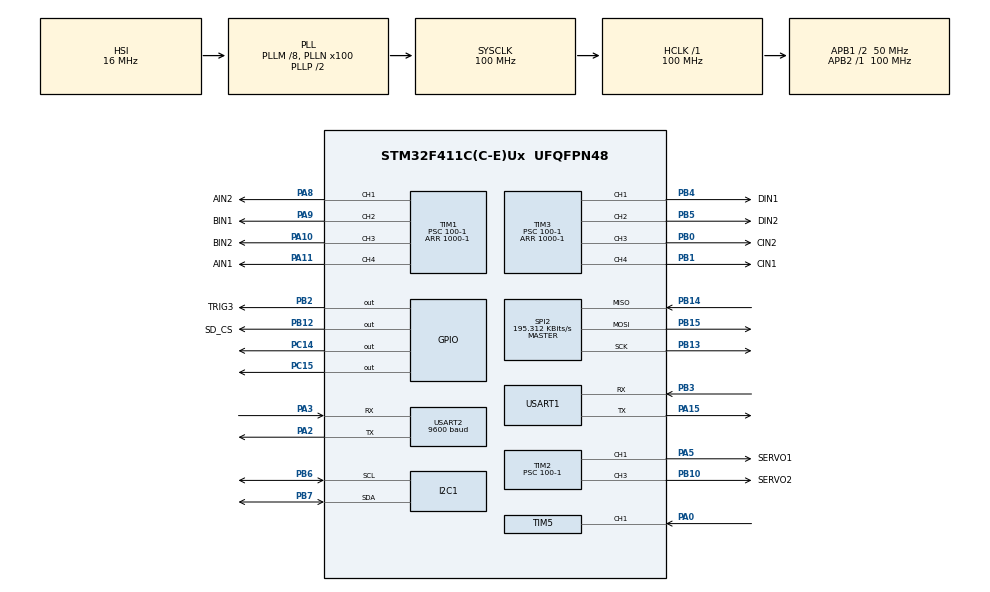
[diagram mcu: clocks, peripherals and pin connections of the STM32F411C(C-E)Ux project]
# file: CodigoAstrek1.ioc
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Dma.Request0=USART2_RX
Dma.Request1=USART1_TX
Dma.USART1_TX.1.Direction=DMA_MEMORY_TO_PERIPH
Dma.USART1_TX.1.FIFOMode=DMA_FIFOMODE_DISABLE
Dma.USART1_TX.1.Instance=DMA2_Stream7
Dma.USART1_TX.1.MemDataAlignment=DMA_MDATAALIGN_BYTE
Dma.USART1_TX.1.MemInc=DMA_MINC_ENABLE
Dma.USART1_TX.1.Mode=DMA_NORMAL
Dma.USART1_TX.1.PeriphDataAlignment=DMA_PDATAALIGN_BYTE
Dma.USART1_TX.1.PeriphInc=DMA_PINC_DISABLE
Dma.USART1_TX.1.Priority=DMA_PRIORITY_LOW
Dma.USART2_RX.0.Direction=DMA_PERIPH_TO_MEMORY
Dma.USART2_RX.0.FIFOMode=DMA_FIFOMODE_DISABLE
Dma.USART2_RX.0.Instance=DMA1_Stream5
Dma.USART2_RX.0.MemDataAlignment=DMA_MDATAALIGN_BYTE
Dma.USART2_RX.0.MemInc=DMA_MINC_ENABLE
Dma.USART2_RX.0.Mode=DMA_CIRCULAR
Dma.USART2_RX.0.PeriphDataAlignment=DMA_PDATAALIGN_BYTE
Dma.USART2_RX.0.PeriphInc=DMA_PINC_DISABLE
Dma.USART2_RX.0.Priority=DMA_PRIORITY_HIGH
FREERTOS.BinarySemaphores01=hcsr04Semaphore,Dynamic,NULL,Depleted;serialSemaphore,Dynamic,NULL,Available;imuSemaphore,Dynamic,NULL,Available
FREERTOS.Queues01=sensorDataQueue,5,SensorData_t,0,Dynamic,NULL,NULL;gpsDataQueue,5,GPS_Data_t,0,Dynamic,NULL,NULL;controlDataQueue,5,ControlCommand_t,0,Dynamic,NULL,NULL;navStatesQueue,5,evento_navegacion,0,Dynamic,NULL,NULL;hcsr04DataQueue,5,HCSR04_Data_t,0,Dynamic,NULL,NULL;logQueue,5,Datalog_Entry_t,0,Dynamic,NULL,NULL
FREERTOS.Tasks01=Navegacion,32,1024,NavegacionTask,Default,NULL,Dynamic,NULL,NULL;Taquito,24,1024,TaquitoTask,Default,NULL,Dynamic,NULL,NULL;NavGlobal,17,1024,Navegacion_Global,Default,NULL,Dynamic,NULL,NULL;Control,48,1024,ControlTask,Default,NULL,Dynamic,NULL,NULL;Ultrasonido,18,1024,UltrasonidoTask,Default,NULL,Dynamic,NULL,NULL;Geoposicion,24,1024,GPSTask,Default,NULL,Dynamic,NULL,NULL;Transmision,9,1024,TransmisionTask,Default,NULL,Dynamic,NULL,NULL;Sensores_I2C,16,1024,SensoresTask,Default,NULL,Dynamic,NULL,NULL;logTask,8,2048,Datos_SD,Default,NULL,Dynamic,NULL,NULL;Servos,8,1024,PatasRoverTask,Default,NULL,Dynamic,NULL,NULL
FREERTOS.configTOTAL_HEAP_SIZE=60000
FREERTOS.configUSE_NEWLIB_REENTRANT=1
Mcu.Family=STM32F4
Mcu.Name=STM32F411C(C-E)Ux
Mcu.Package=UFQFPN48
NVIC.DMA1_Stream5_IRQn=true\:5\:0\:false\:false\:true\:true\:false\:true\:true
NVIC.DMA2_Stream7_IRQn=true\:5\:0\:false\:false\:true\:true\:false\:true\:true
NVIC.PriorityGroup=NVIC_PRIORITYGROUP_4
NVIC.TIM1_TRG_COM_TIM11_IRQn=true\:15\:0\:false\:false\:true\:false\:false\:true\:true
NVIC.TIM2_IRQn=true\:5\:0\:false\:false\:true\:true\:true\:true\:true
NVIC.TimeBase=TIM1_TRG_COM_TIM11_IRQn
NVIC.TimeBaseIP=TIM11
NVIC.USART1_IRQn=true\:5\:0\:false\:false\:true\:true\:true\:true\:true
NVIC.USART2_IRQn=true\:5\:0\:false\:false\:true\:true\:true\:true\:true
PA0-WKUP.Signal=S_TIM5_CH1
PA10.GPIO_Label=BIN2
PA10.Signal=S_TIM1_CH3
PA11.GPIO_Label=AIN1
PA11.Signal=S_TIM1_CH4
PA15.Mode=Asynchronous
PA15.Signal=USART1_TX
PA2.Mode=Asynchronous
PA2.Signal=USART2_TX
PA3.Mode=Asynchronous
PA3.Signal=USART2_RX
PA5.GPIO_Label=SERVO1
PA5.Signal=S_TIM2_CH1_ETR
PA8.GPIO_Label=AIN2
PA8.Signal=S_TIM1_CH1
PA9.GPIO_Label=BIN1
PA9.Signal=S_TIM1_CH2
PB0.GPIO_Label=CIN2
PB0.Signal=S_TIM3_CH3
PB1.GPIO_Label=CIN1
PB1.Signal=S_TIM3_CH4
PB10.GPIO_Label=SERVO2
PB10.Signal=S_TIM2_CH3
PB12.GPIO_Label=SD_CS
PB12.Signal=GPIO_Output
PB13.Mode=Full_Duplex_Master
PB13.Signal=SPI2_SCK
PB14.Mode=Full_Duplex_Master
PB14.Signal=SPI2_MISO
PB15.Mode=Full_Duplex_Master
PB15.Signal=SPI2_MOSI
PB2.GPIO_Label=TRIG3
PB2.Signal=GPIO_Output
PB3.Mode=Asynchronous
PB3.Signal=USART1_RX
PB4.GPIO_Label=DIN1
PB4.Signal=S_TIM3_CH1
PB5.GPIO_Label=DIN2
PB5.Signal=S_TIM3_CH2
PB6.Mode=I2C
PB6.Signal=I2C1_SCL
PB7.Mode=I2C
PB7.Signal=I2C1_SDA
PC14-OSC32_IN.Signal=GPIO_Output
PC15-OSC32_OUT.Signal=GPIO_Output
ProjectManager.HeapSize=0x200
ProjectManager.StackSize=0x400
ProjectManager.TargetToolchain=STM32CubeIDE
RCC.48MHZClocksFreq_Value=50000000
RCC.AHBFreq_Value=100000000
RCC.APB1CLKDivider=RCC_HCLK_DIV2
RCC.APB1Freq_Value=50000000
RCC.APB1TimFreq_Value=100000000
RCC.APB2Freq_Value=100000000
RCC.APB2TimFreq_Value=100000000
RCC.CortexFreq_Value=100000000
RCC.HCLKFreq_Value=100000000
RCC.HSE_VALUE=25000000
RCC.HSI_VALUE=16000000
RCC.LSE_VALUE=32768
RCC.PLLM=8
RCC.PLLN=100
RCC.SYSCLKFreq_VALUE=100000000
RCC.SYSCLKSource=RCC_SYSCLKSOURCE_PLLCLK
RCC.VCOOutputFreq_Value=200000000
SH.S_TIM1_CH1.0=TIM1_CH1,PWM Generation1 CH1
SH.S_TIM1_CH2.0=TIM1_CH2,PWM Generation2 CH2
SH.S_TIM1_CH3.0=TIM1_CH3,PWM Generation3 CH3
SH.S_TIM1_CH4.0=TIM1_CH4,PWM Generation4 CH4
SH.S_TIM2_CH1_ETR.0=TIM2_CH1,PWM Generation1 CH1
SH.S_TIM2_CH3.0=TIM2_CH3,PWM Generation3 CH3
SH.S_TIM3_CH1.0=TIM3_CH1,PWM Generation1 CH1
SH.S_TIM3_CH2.0=TIM3_CH2,PWM Generation2 CH2
SH.S_TIM3_CH3.0=TIM3_CH3,PWM Generation3 CH3
SH.S_TIM3_CH4.0=TIM3_CH4,PWM Generation4 CH4
SH.S_TIM5_CH1.0=TIM5_CH1,Input_Capture1_from_TI1
SPI2.BaudRatePrescaler=SPI_BAUDRATEPRESCALER_256
SPI2.CalculateBaudRate=195.312 KBits/s
SPI2.Direction=SPI_DIRECTION_2LINES
SPI2.Mode=SPI_MODE_MASTER
SPI2.VirtualType=VM_MASTER
TIM1.Channel-PWM\ Generation1\ CH1=TIM_CHANNEL_1
TIM1.Channel-PWM\ Generation2\ CH2=TIM_CHANNEL_2
TIM1.Channel-PWM\ Generation3\ CH3=TIM_CHANNEL_3
TIM1.Channel-PWM\ Generation4\ CH4=TIM_CHANNEL_4
TIM1.Period=1000-1
TIM1.Prescaler=100-1
TIM2.Channel-PWM\ Generation1\ CH1=TIM_CHANNEL_1
TIM2.Channel-PWM\ Generation3\ CH3=TIM_CHANNEL_3
TIM2.Period=20000-1
TIM2.Prescaler=100-1
TIM3.Channel-PWM\ Generation1\ CH1=TIM_CHANNEL_1
TIM3.Channel-PWM\ Generation2\ CH2=TIM_CHANNEL_2
TIM3.Channel-PWM\ Generation3\ CH3=TIM_CHANNEL_3
TIM3.Channel-PWM\ Generation4\ CH4=TIM_CHANNEL_4
TIM3.Period=1000-1
TIM3.Prescaler=100-1
TIM5.Channel-Input_Capture1_from_TI1=TIM_CHANNEL_1
USART1.VirtualMode=VM_ASYNC
USART2.BaudRate=9600
USART2.VirtualMode=VM_ASYNC
VP_FATFS_VS_Generic.Mode=User_defined
VP_FREERTOS_VS_CMSIS_V2.Mode=CMSIS_V2
VP_SYS_VS_tim11.Mode=TIM11
VP_TIM1_VS_ClockSourceINT.Mode=Internal
VP_TIM2_VS_ClockSourceINT.Mode=Internal
VP_TIM3_VS_ClockSourceINT.Mode=Internal
VP_TIM5_VS_ClockSourceINT.Mode=Internal
board=custom

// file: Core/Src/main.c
/* USER CODE BEGIN Header */
/**
 ******************************************************************************
 * @file           : main.c
 * @brief          : Main program body
 ******************************************************************************
 * @attention
 *
 * Copyright (c) 2025 STMicroelectronics.
 * All rights reserved.
 *
 * This software is licensed under terms that can be found in the LICENSE file
 * in the root directory of this software component.
 * If no LICENSE file comes with this software, it is provided AS-IS.
 *
 ******************************************************************************
 */
/* USER CODE END Header */
#include "main.h"
#include "cmsis_os.h"
#include "dma.h"
#include "fatfs.h"
#include "i2c.h"
#include "spi.h"
#include "tim.h"
#include "usart.h"
#include "gpio.h"

/* USER CODE BEGIN Includes */
#include "Control_Rover.h"
#include "GPS.h"
#include "IMU.h"
#include "Serial.h"
#include "sr04.h"
#include "Gases.h"
#include "Navegacion.h"
#include "Sensors_I2C.h"

/* USER CODE END Includes */

/* USER CODE BEGIN PTD */
Rover_Config Rover; // A corregir, que los de diseño hpta se decidan si 4x4 o solo traccion delantera
GPS_Config_t gps_config;
HCSR04_Config_t hcsr04_frontal;
Sensors_I2C_Handle_t Sensores;

extern UART_HandleTypeDef huart2;
extern UART_HandleTypeDef huart1;
extern I2C_HandleTypeDef hi2c1;
extern TIM_HandleTypeDef htim2;
/* USER CODE END PTD */

/* USER CODE BEGIN PD */
#define CCS811_I2C_ADDRESS         0x5A  // Dirección I2C del CCS811 (ADDR a GND)
#define SENSOR_READ_INTERVAL_MS    2000  // Intervalo de lectura de sensores en ms
#define UART_BUFFER_SIZE           256   // Tamaño del buffer UART

/* USER CODE END PD */

void SystemClock_Config(void);
void MX_FREERTOS_Init(void);
/* USER CODE BEGIN PFP */
void AllInit(void);

/* USER CODE END PFP */

int main(void)
{

  /* USER CODE BEGIN 1 */
	CoreDebug->DEMCR |= CoreDebug_DEMCR_TRCENA_Msk;
	DWT->CTRL |= DWT_CTRL_CYCCNTENA_Msk;
  /* USER CODE END 1 */

  /* MCU Configuration--------------------------------------------------------*/

  /* Reset of all peripherals, Initializes the Flash interface and the Systick. */
  HAL_Init();

  /* Configure the system clock */
  SystemClock_Config();

  /* Initialize all configured peripherals */
  MX_GPIO_Init();
  MX_DMA_Init();
  MX_TIM1_Init();
  MX_TIM3_Init();
  MX_TIM2_Init();
  MX_USART2_UART_Init();
  MX_USART1_UART_Init();
  MX_I2C1_Init();
  MX_SPI2_Init();
  MX_FATFS_Init();
  MX_TIM5_Init();
  /* USER CODE BEGIN 2 */
	//I2C_Scanner();
	AllInit();
  /* USER CODE END 2 */

  /* Init scheduler */
  osKernelInitialize();  /* Call init function for freertos objects (in cmsis_os2.c) */
  MX_FREERTOS_Init();

  /* Start scheduler */
  osKernelStart();

  /* We should never get here as control is now taken by the scheduler */

  /* Infinite loop */
	while (1)
	{

	}
}

void SystemClock_Config(void)
{
  RCC_OscInitTypeDef RCC_OscInitStruct = {0};
  RCC_ClkInitTypeDef RCC_ClkInitStruct = {0};

  /** Configure the main internal regulator output voltage
  */
  __HAL_RCC_PWR_CLK_ENABLE();
  __HAL_PWR_VOLTAGESCALING_CONFIG(PWR_REGULATOR_VOLTAGE_SCALE1);

  /** Initializes the RCC Oscillators according to the specified parameters
  * in the RCC_OscInitTypeDef structure.
  */
  RCC_OscInitStruct.OscillatorType = RCC_OSCILLATORTYPE_HSI;
  RCC_OscInitStruct.HSIState = RCC_HSI_ON;
  RCC_OscInitStruct.HSICalibrationValue = RCC_HSICALIBRATION_DEFAULT;
  RCC_OscInitStruct.PLL.PLLState = RCC_PLL_ON;
  RCC_OscInitStruct.PLL.PLLSource = RCC_PLLSOURCE_HSI;
  RCC_OscInitStruct.PLL.PLLM = 8;
  RCC_OscInitStruct.PLL.PLLN = 100;
  RCC_OscInitStruct.PLL.PLLP = RCC_PLLP_DIV2;
  RCC_OscInitStruct.PLL.PLLQ = 4;
  if (HAL_RCC_OscConfig(&RCC_OscInitStruct) != HAL_OK)
  {
    Error_Handler();
  }

  /** Initializes the CPU, AHB and APB buses clocks
  */
  RCC_ClkInitStruct.ClockType = RCC_CLOCKTYPE_HCLK|RCC_CLOCKTYPE_SYSCLK
                              |RCC_CLOCKTYPE_PCLK1|RCC_CLOCKTYPE_PCLK2;
  RCC_ClkInitStruct.SYSCLKSource = RCC_SYSCLKSOURCE_PLLCLK;
  RCC_ClkInitStruct.AHBCLKDivider = RCC_SYSCLK_DIV1;
  RCC_ClkInitStruct.APB1CLKDivider = RCC_HCLK_DIV2;
  RCC_ClkInitStruct.APB2CLKDivider = RCC_HCLK_DIV1;

  if (HAL_RCC_ClockConfig(&RCC_ClkInitStruct, FLASH_LATENCY_3) != HAL_OK)
  {
    Error_Handler();
  }
}

/* USER CODE BEGIN 4 */

void AllInit(void){ // COLOCAR LOS QUE SON BRRRRRRRRRRR

	HAL_TIM_PWM_Start(&htim1, TIM_CHANNEL_2); // motor izquierdo adelante
	HAL_TIM_PWM_Start(&htim1, TIM_CHANNEL_3);

	HAL_TIM_PWM_Start(&htim1, TIM_CHANNEL_4); // Motor derecho adelante
	HAL_TIM_PWM_Start(&htim1, TIM_CHANNEL_1);

	HAL_TIM_PWM_Start(&htim3, TIM_CHANNEL_1); // motor izquierdo atras
	HAL_TIM_PWM_Start(&htim3, TIM_CHANNEL_2);

	HAL_TIM_PWM_Start(&htim3, TIM_CHANNEL_4); // Motor derecho atras
	HAL_TIM_PWM_Start(&htim3, TIM_CHANNEL_3);

	// Configurar pines y timer para el motor derecho delantero
	Rover.f_right_motor.pwm_timer = &htim1;
	Rover.f_right_motor.pwm_channel_IN1 = TIM_CHANNEL_4; // AIN1
	Rover.f_right_motor.pwm_channel_IN2 = TIM_CHANNEL_1; // AIN2

	// Configurar pines y timer para el motor izquierdo delantero
	Rover.f_left_motor.pwm_timer = &htim1;
	Rover.f_left_motor.pwm_channel_IN1 = TIM_CHANNEL_2; // BIN1
	Rover.f_left_motor.pwm_channel_IN2 = TIM_CHANNEL_3; // BIN2

	// Configurar pines y timer para el motor derecho trasero
	Rover.b_right_motor.pwm_timer = &htim3;
	Rover.b_right_motor.pwm_channel_IN1 = TIM_CHANNEL_4; // CIN1
	Rover.b_right_motor.pwm_channel_IN2 = TIM_CHANNEL_3; // CIN2

	// Configurar pines y timer para el motor izquierdo trasero
	Rover.b_left_motor.pwm_timer = &htim3;
	Rover.b_left_motor.pwm_channel_IN1 = TIM_CHANNEL_1; // DIN1
	Rover.b_left_motor.pwm_channel_IN2 = TIM_CHANNEL_2; // DIN2

	hcsr04_frontal.htim = &htim2;
	hcsr04_frontal.tim_channel = TIM_CHANNEL_1;
	hcsr04_frontal.trig_port = GPIOA;          // Ajustar según tu configuración
	hcsr04_frontal.trig_pin = GPIO_PIN_6;     // Ajustar según tu configuración
	hcsr04_frontal.timeout_ms = 100;
	HCSR04_Init(&hcsr04_frontal);

	gps_config.huart = &huart2;  // colocar la que es aqui y arriba en la definicion externa
	gps_config.timeout_ms = 1000;
	GPS_Init(&gps_config);

	Serial_Init(&huart1);

	init_navegacion();
	HAL_Delay(5000);
}

void HAL_UART_RxHalfCpltCallback(UART_HandleTypeDef *huart)
{
	GPS_UART_RxHalfCpltCallback(huart);
}

void HAL_UART_RxCpltCallback(UART_HandleTypeDef *huart)
{
	GPS_UART_RxCpltCallback(huart);
	Serial_TxComplete_Callback(huart);  // Mantener si usas Serial
}

void HAL_UART_ErrorCallback(UART_HandleTypeDef *huart)
{
	GPS_UART_ErrorCallback(huart);
}

/**
 * @brief  Input Capture callback in non blocking mode
 * @param  htim : TIM handle
 * @retval None
 */
void HAL_TIM_IC_CaptureCallback(TIM_HandleTypeDef *htim)
{
	// Llama a nuestro driver del sensor.
	// El driver sr04.c comprobará internamente si el htim
	// es el que le corresponde (el &htim2 que le pasamos en main.c)
	HCSR04_InputCaptureCallback(htim);
}
/* USER CODE END 4 */

void HAL_TIM_PeriodElapsedCallback(TIM_HandleTypeDef *htim)
{
  /* USER CODE BEGIN Callback 0 */
	HCSR04_TimerOverflowCallback(htim);
  /* USER CODE END Callback 0 */
  if (htim->Instance == TIM11)
  {
    HAL_IncTick();
  }
}

void Error_Handler(void)
{
	__disable_irq();
	while (1)
	{
	}
}

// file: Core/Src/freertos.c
/* USER CODE BEGIN Header */
/**
 ******************************************************************************
 * File Name          : freertos.c (VERSIÓN CORREGIDA)
 * Description        : Code for freertos applications
 ******************************************************************************
 */
/* USER CODE END Header */
//
#include "FreeRTOS.h"
#include "task.h"
#include "main.h"
#include "cmsis_os.h"

/* USER CODE BEGIN Includes */
#define _USE_MATH_DEFINES
#include <math.h>

#include "GPS.h"
#include "IMU.h"
#include "Serial.h"
#include "sr04.h"

#include "Navegacion.h"
//#include "NavGlobal.h"
#include "Taquito.h"

#include "usart.h"
#include "i2c.h"

#include <string.h>
#include <stdio.h>

#include "Control_Rover.h"
#include "Control_Pose.h"
#include "Control_Kinematics.h"
#include "Control_PWM.h"
#include "servos.h"

#include "Sensors_I2C.h"
#include "LoRa_RYLR998.h"
#include "datalogger.h"

/* USER CODE END Includes */

/* USER CODE BEGIN PTD */
extern Rover_Config Rover;
extern HCSR04_Config_t hcsr04_config;
extern GPS_Config_t gps_config;
extern MPU9250_Data IMU_Data;
volatile float g_current_lux = 0.0f;
extern TIM_HandleTypeDef htim2;
/* USER CODE END PTD */

/* USER CODE BEGIN PD */
#define LUX_THRESHOLD_OPEN  500.0f // Abrir si hay más luz que esto
#define LUX_HYSTERESIS      50.0f  // Margen para evitar rebotes
/* USER CODE END PD */

/* USER CODE BEGIN Variables */
int __io_putchar(int ch) {
	HAL_UART_Transmit(&huart1, (uint8_t *)&ch, 1, HAL_MAX_DELAY);
	return ch;
}

uint32_t raw_light_debug = 0;
static PoseController_t pose_controller;
static PWM_Compensation_t pwm_compensation;
static uint8_t control_initialized = 0;

Servo_Handle_t hServoDiag1; // Par 1 (ej. FR + BL)
Servo_Handle_t hServoDiag2; // Par 2 (ej. FL + BR)

/* USER CODE END Variables */
/* Definitions for Navegacion */
osThreadId_t NavegacionHandle;
const osThreadAttr_t Navegacion_attributes = {
		.name = "Navegacion",
		.stack_size = 1024 * 4,
		.priority = (osPriority_t) osPriorityAboveNormal,
};
/* Definitions for Taquito */
osThreadId_t TaquitoHandle;
const osThreadAttr_t Taquito_attributes = {
		.name = "Taquito",
		.stack_size = 1024 * 4,
		.priority = (osPriority_t) osPriorityNormal,
};
/* Definitions for NavGlobal */
osThreadId_t NavGlobalHandle;
const osThreadAttr_t NavGlobal_attributes = {
		.name = "NavGlobal",
		.stack_size = 1024 * 4,
		.priority = (osPriority_t) osPriorityBelowNormal1,
};
/* Definitions for Control */
osThreadId_t ControlHandle;
const osThreadAttr_t Control_attributes = {
		.name = "Control",
		.stack_size = 1024 * 4,
		.priority = (osPriority_t) osPriorityRealtime,
};
/* Definitions for Ultrasonido */
osThreadId_t UltrasonidoHandle;
const osThreadAttr_t Ultrasonido_attributes = {
		.name = "Ultrasonido",
		.stack_size = 1024 * 4,
		.priority = (osPriority_t) osPriorityBelowNormal2,
};
/* Definitions for Geoposicion */
osThreadId_t GeoposicionHandle;
const osThreadAttr_t Geoposicion_attributes = {
		.name = "Geoposicion",
		.stack_size = 1024 * 4,
		.priority = (osPriority_t) osPriorityNormal,
};
/* Definitions for Transmision */
osThreadId_t TransmisionHandle;
const osThreadAttr_t Transmision_attributes = {
		.name = "Transmision",
		.stack_size = 1024 * 4,
		.priority = (osPriority_t) osPriorityLow1,
};
/* Definitions for Sensores_I2C */
osThreadId_t Sensores_I2CHandle;
const osThreadAttr_t Sensores_I2C_attributes = {
		.name = "Sensores_I2C",
		.stack_size = 1024 * 4,
		.priority = (osPriority_t) osPriorityBelowNormal,
};
/* Definitions for logTask */
osThreadId_t logTaskHandle;
const osThreadAttr_t logTask_attributes = {
		.name = "logTask",
		.stack_size = 2048 * 4,
		.priority = (osPriority_t) osPriorityLow,
};
/* Definitions for Servos */
osThreadId_t ServosHandle;
const osThreadAttr_t Servos_attributes = {
		.name = "Servos",
		.stack_size = 1024 * 4,
		.priority = (osPriority_t) osPriorityLow,
};
/* Definitions for sensorDataQueue */
osMessageQueueId_t sensorDataQueueHandle;
const osMessageQueueAttr_t sensorDataQueue_attributes = {
		.name = "sensorDataQueue"
};
/* Definitions for gpsDataQueue */
osMessageQueueId_t gpsDataQueueHandle;
const osMessageQueueAttr_t gpsDataQueue_attributes = {
		.name = "gpsDataQueue"
};
/* Definitions for controlDataQueue */
osMessageQueueId_t controlDataQueueHandle;
const osMessageQueueAttr_t controlDataQueue_attributes = {
		.name = "controlDataQueue"
};
/* Definitions for navStatesQueue */
osMessageQueueId_t navStatesQueueHandle;
const osMessageQueueAttr_t navStatesQueue_attributes = {
		.name = "navStatesQueue"
};
/* Definitions for hcsr04DataQueue */
osMessageQueueId_t hcsr04DataQueueHandle;
const osMessageQueueAttr_t hcsr04DataQueue_attributes = {
		.name = "hcsr04DataQueue"
};
/* Definitions for logQueue */
osMessageQueueId_t logQueueHandle;
const osMessageQueueAttr_t logQueue_attributes = {
		.name = "logQueue"
};
/* Definitions for hcsr04Semaphore */
osSemaphoreId_t hcsr04SemaphoreHandle;
const osSemaphoreAttr_t hcsr04Semaphore_attributes = {
		.name = "hcsr04Semaphore"
};
/* Definitions for serialSemaphore */
osSemaphoreId_t serialSemaphoreHandle;
const osSemaphoreAttr_t serialSemaphore_attributes = {
		.name = "serialSemaphore"
};
/* Definitions for imuSemaphore */
osSemaphoreId_t imuSemaphoreHandle;
const osSemaphoreAttr_t imuSemaphore_attributes = {
		.name = "imuSemaphore"
};

/* USER CODE BEGIN FunctionPrototypes */

void Rover_SetPWM_Differential(Rover_Config *rover, PWM_Commands_t commands)
{
	// ========== MOTORES DERECHOS ==========
	if (commands.dir_right == 0) {
		__HAL_TIM_SET_COMPARE(rover->f_right_motor.pwm_timer,
				rover->f_right_motor.pwm_channel_IN1,
				commands.pwm_right);
		__HAL_TIM_SET_COMPARE(rover->f_right_motor.pwm_timer,
				rover->f_right_motor.pwm_channel_IN2, 0);

		__HAL_TIM_SET_COMPARE(rover->b_right_motor.pwm_timer,
				rover->b_right_motor.pwm_channel_IN1,
				commands.pwm_right);
		__HAL_TIM_SET_COMPARE(rover->b_right_motor.pwm_timer,
				rover->b_right_motor.pwm_channel_IN2, 0);
	} else {
		__HAL_TIM_SET_COMPARE(rover->f_right_motor.pwm_timer,
				rover->f_right_motor.pwm_channel_IN1, 0);
		__HAL_TIM_SET_COMPARE(rover->f_right_motor.pwm_timer,
				rover->f_right_motor.pwm_channel_IN2,
				commands.pwm_right);

		__HAL_TIM_SET_COMPARE(rover->b_right_motor.pwm_timer,
				rover->b_right_motor.pwm_channel_IN1, 0);
		__HAL_TIM_SET_COMPARE(rover->b_right_motor.pwm_timer,
				rover->b_right_motor.pwm_channel_IN2,
				commands.pwm_right);
	}

	// ========== MOTORES IZQUIERDOS ==========
	if (commands.dir_left == 0) {
		__HAL_TIM_SET_COMPARE(rover->f_left_motor.pwm_timer,
				rover->f_left_motor.pwm_channel_IN1,
				commands.pwm_left);
		__HAL_TIM_SET_COMPARE(rover->f_left_motor.pwm_timer,
				rover->f_left_motor.pwm_channel_IN2, 0);

		__HAL_TIM_SET_COMPARE(rover->b_left_motor.pwm_timer,
				rover->b_left_motor.pwm_channel_IN1,
				commands.pwm_left);
		__HAL_TIM_SET_COMPARE(rover->b_left_motor.pwm_timer,
				rover->b_left_motor.pwm_channel_IN2, 0);
	} else {
		__HAL_TIM_SET_COMPARE(rover->f_left_motor.pwm_timer,
				rover->f_left_motor.pwm_channel_IN1, 0);
		__HAL_TIM_SET_COMPARE(rover->f_left_motor.pwm_timer,
				rover->f_left_motor.pwm_channel_IN2,
				commands.pwm_left);

		__HAL_TIM_SET_COMPARE(rover->b_left_motor.pwm_timer,
				rover->b_left_motor.pwm_channel_IN1, 0);
		__HAL_TIM_SET_COMPARE(rover->b_left_motor.pwm_timer,
				rover->b_left_motor.pwm_channel_IN2,
				commands.pwm_left);
	}
}

/* USER CODE END FunctionPrototypes */

void NavegacionTask(void *argument);
void TaquitoTask(void *argument);
void Navegacion_Global(void *argument);
void ControlTask(void *argument);
void UltrasonidoTask(void *argument);
void GPSTask(void *argument);
void TransmisionTask(void *argument);
void SensoresTask(void *argument);
void Datos_SD(void *argument);
void PatasRoverTask(void *argument);

void MX_FREERTOS_Init(void); /* (MISRA C 2004 rule 8.1) */

void MX_FREERTOS_Init(void) {

	/* Create the semaphores(s) */
	/* creation of hcsr04Semaphore */
	hcsr04SemaphoreHandle = osSemaphoreNew(1, 0, &hcsr04Semaphore_attributes);

	/* creation of serialSemaphore */
	serialSemaphoreHandle = osSemaphoreNew(1, 1, &serialSemaphore_attributes);

	/* creation of imuSemaphore */
	imuSemaphoreHandle = osSemaphoreNew(1, 1, &imuSemaphore_attributes);

	/* Create the queue(s) */
	/* creation of sensorDataQueue */
	sensorDataQueueHandle = osMessageQueueNew (5, sizeof(SensorData_t), &sensorDataQueue_attributes);

	/* creation of gpsDataQueue */
	gpsDataQueueHandle = osMessageQueueNew (5, sizeof(GPS_Data_t), &gpsDataQueue_attributes);

	/* creation of controlDataQueue */
	controlDataQueueHandle = osMessageQueueNew (5, sizeof(ControlCommand_t), &controlDataQueue_attributes);

	/* creation of navStatesQueue */
	navStatesQueueHandle = osMessageQueueNew (5, sizeof(evento_navegacion), &navStatesQueue_attributes);

	/* creation of hcsr04DataQueue */
	hcsr04DataQueueHandle = osMessageQueueNew (5, sizeof(HCSR04_Data_t), &hcsr04DataQueue_attributes);

	/* creation of logQueue */
	logQueueHandle = osMessageQueueNew (5, sizeof(Datalog_Entry_t), &logQueue_attributes);

	/* Create the thread(s) */
	/* creation of Navegacion */
	//NavegacionHandle = osThreadNew(NavegacionTask, NULL, &Navegacion_attributes);

	/* creation of Taquito */
	TaquitoHandle = osThreadNew(TaquitoTask, NULL, &Taquito_attributes);

	/* creation of NavGlobal */
	//NavGlobalHandle = osThreadNew(Navegacion_Global, NULL, &NavGlobal_attributes);

	/* creation of Control */
	ControlHandle = osThreadNew(ControlTask, NULL, &Control_attributes);

	/* creation of Ultrasonido */
	UltrasonidoHandle = osThreadNew(UltrasonidoTask, NULL, &Ultrasonido_attributes);

	/* creation of Geoposicion */
	GeoposicionHandle = osThreadNew(GPSTask, NULL, &Geoposicion_attributes);

	/* creation of Transmision */
	TransmisionHandle = osThreadNew(TransmisionTask, NULL, &Transmision_attributes);

	/* creation of Sensores_I2C */
	Sensores_I2CHandle = osThreadNew(SensoresTask, NULL, &Sensores_I2C_attributes);

	/* creation of logTask */
	logTaskHandle = osThreadNew(Datos_SD, NULL, &logTask_attributes);

	/* creation of Servos */
	ServosHandle = osThreadNew(PatasRoverTask, NULL, &Servos_attributes);

}

void NavegacionTask(void *argument)
{
	for(;;)
	{
		osDelay(1);
	}
}

void TaquitoTask(void *argument)
{
	for(;;)
	{
		osDelay(1);
	}
}

void Navegacion_Global(void *argument)
{
	for(;;)
	{
		osDelay(1);
	}
}

void ControlTask(void *argument)
{

    // ===== INICIALIZACIÓN =====
    osDelay(500);  // ← AÑADIDO: Esperar a que otras tareas inicialicen

    if (!control_initialized) {
        PoseController_Init(&pose_controller);
        PWM_InitCompensation(&pwm_compensation);
        control_initialized = 1;

        // Mensaje de inicio SIN bloqueo
        HAL_UART_Transmit(&huart1, (uint8_t*)"[CONTROL] Inicializado\r\n", 24, 100);
    }

    // ===== Variables persistentes para MODE_POSE_GIRO =====
    typedef enum { GYRO_IDLE = 0, GYRO_ROTATING } GyroState_t;
    static GyroState_t giro_state = GYRO_IDLE;
    bool done;
    static uint32_t giro_start_tick = 0;
    static const uint32_t GIRO_TIMEOUT = 15000;
    static float yaw_integrado = 0.0f;     // integración del gyro
	static uint32_t last_tick = 0;         // para integrar dt
	const float GIRO_WZ = 0.35f;           // velocidad angular de giro
    const float GIRO_OBJ_RAD = 90.0f * M_PI / 180.0f;  // 90 grados

    // Variables locales
    static uint8_t target_set = 0;
    static uint16_t telemetry_counter = 0;

    GPS_Data_t gps_data;
    ControlCommand_t cmd;
    osStatus_t status;
	Sensors_I2C_Handle_t hsensors = {0};

    // Variables de trabajo para el control
	float vx_cmd = 0.0f;
	float wz_cmd = 0.0f;

    // ===== BUCLE PRINCIPAL =====
    for(;;)
    {
    	 // 1. Leer GPS actual
		status = osMessageQueueGet(gpsDataQueueHandle, &gps_data, NULL, 10);
		if (status != osOK) continue;

		// Intentar leer un comando de la cola de Taquito (no bloqueante, timeout 0)
		status = osMessageQueueGet(controlDataQueueHandle, &cmd, NULL, 0);
		if (status != osOK) continue;

		// 2. Convertir GPS a coordenadas locales (usar gpsACartesiano)
		P_Cartesiano pos_actual = gpsACartesiano(estacionTerrena, &gps_data);

		// 3. Obtener orientación (temporalmente de GPS course)
		float theta_actual = deg2rad(gps_data.course);

        // ----- ACTUALIZAR CONTROLADOR -----
        PoseController_Update(&pose_controller, pos_actual.x, pos_actual.y, theta_actual);

        // ----- VERIFICAR SI LLEGAMOS -----
        if (pose_controller.target_reached) {
            PWM_Commands_t stop_cmd = {0, 0, 0, 0};
            Rover_SetPWM_Differential(&Rover, stop_cmd);

            //HAL_UART_Transmit(&huart1, (uint8_t*)"[CONTROL] Target alcanzado!\r\n", 30, 100);

            // Resetear controlador
            PoseController_Reset(&pose_controller);

            target_set = 0;
            osDelay(2000);

            continue;
        }

        // 4. SELECCIÓN DE LÓGICA DE CONTROL BASADA EN EL MODO
        	if(!done) cmd.mode=MODE_POSE_GIRO;
       		switch (cmd.mode)
       		{
       			case MODE_WALL_FOLLOW: //control PID para el seguimiento de pared
       				// Taquito ya calculó el PID lateral y dio el vx y wz (corrección)
       				vx_cmd = cmd.target_vx;
       				wz_cmd = cmd.target_wz;

       				// Resetear el PID de pose (para que no interfiera)
       				PoseController_Reset(&pose_controller);
       				break;

       			case MODE_POSE_GIRO:

       				    // ============================================================
       				    //  1) SI EL GIRO NO HA INICIADO --> inicializar integración
       				    // ============================================================
       				    if (giro_state == GYRO_IDLE)
       				    {
       				        yaw_integrado = 0.0f;
       				        last_tick = HAL_GetTick();
       				        giro_start_tick = last_tick;

       				        giro_state = GYRO_ROTATING;

       				        // dirección de giro
       				        vx_cmd = 0.0f;
       				        wz_cmd = (cmd.giro_dir == GIRO_ANTIHORARIO) ? GIRO_WZ : -GIRO_WZ;

       				        break; // salir del switch
       				    }

       				    // ==========================================
       				    //       2) SI EL GIRO ESTÁ EN CURSO
       				    // ==========================================
       				    if (giro_state == GYRO_ROTATING)
       				    {
       				        done = false;

       				        // ----- Integrar gyro -----
       				        uint32_t now = HAL_GetTick();
       				        float dt = (now - last_tick) / 1000.0f;  // convertir a segundos
       				        last_tick = now;

       				        // IMPORTANTE: gyro_z debe estar en rad/s
       				        status = osMessageQueueGet(sensorDataQueueHandle, &hsensors, NULL, 0);
       				     	if (status != osOK) continue;

       				        float gyro_z = hsensors.data.gyro[3];   // Asegúrate: gz YA normalizado en rad/s dentro del driver

       				        yaw_integrado += gyro_z * dt;

       				        // ----- Verificar si ya alcanzó 90° -----
       				        if (cmd.giro_dir == GIRO_ANTIHORARIO)
       				        {
       				            if (yaw_integrado >= GIRO_OBJ_RAD)
       				                done = true;
       				        }
       				        else // GIRO_HORARIO
       				        {
       				            if (yaw_integrado <= -GIRO_OBJ_RAD)
       				                done = true;
       				        }

       				        // ----- Timeout -----
       				        if ((now - giro_start_tick) > GIRO_TIMEOUT)
       				            done = true;

       				        // ----- Si terminó el giro -----
       				        if (done)
       				        {
       				            PWM_Commands_t stop = {0};
       				            Rover_SetPWM_Differential(&Rover, stop);

       				            giro_state = GYRO_IDLE;

       				            PoseController_Reset(&pose_controller);
       				            break;
       				        }

       				        // ----- Si NO ha terminado → seguir girando -----
       				        vx_cmd = 0.0f;
       				        wz_cmd = (cmd.giro_dir == GIRO_ANTIHORARIO) ? GIRO_WZ : -GIRO_WZ;
       				        break;
       				    }
       				    break;

       			case MODE_POSE_TARGET: //la logica que ya se tenia, avanza hacia un target x,y
       				// Comportamiento de control de pose original (ir a X, Y)
       				PoseController_Update(&pose_controller,
       									 pos_actual.x, pos_actual.y, theta_actual
       									 ); // Usar targets del comando

       				vx_cmd = pose_controller.vx_cmd;
       				wz_cmd = pose_controller.wz_cmd;
       				break;

       			case MODE_FORWARD:
       				//avance "en bruto" desde taquito
       				vx_cmd = cmd.target_vx;
       				wz_cmd = cmd.target_wz;
       				break;
       		}

        // ----- CINEMÁTICA Y PWM -----
        WheelVelocities_t wheel_velocities = Kinematics_Inverse(
            vx_cmd,
            wz_cmd
        );

        PWM_Commands_t pwm_commands = PWM_FromWheelVelocities(
            wheel_velocities,
            &pwm_compensation
        );

        Rover_SetPWM_Differential(&Rover, pwm_commands);

        // ----- TELEMETRÍA REDUCIDA (cada 2 segundos) -----
        telemetry_counter++;
        if (telemetry_counter >= 40) {  // 40 * 50ms = 2 segundos
            telemetry_counter = 0;

            // Telemetría compacta
            char telem[128];
            snprintf(telem, sizeof(telem),
                    "Pos:(%.2f,%.2f) Dist:%.2fm PWM:(%u,%u)\r\n",
                    pos_actual.x, pos_actual.y,
                    pose_controller.distance_to_target,
                    pwm_commands.pwm_right, pwm_commands.pwm_left);

            HAL_UART_Transmit(&huart1, (uint8_t*)telem, strlen(telem), 100);
        }

        osDelay(50);  // 20Hz
    }

}

void UltrasonidoTask(void *argument)
{
	/* USER CODE BEGIN UltrasonidoTask */

	HCSR04_Data_t data_ultrasonico;

	/* Infinite loop */
	for(;;)
	{
		// 1. Llama a la función de lectura.
		// Esta función bloqueará la tarea (espera el semáforo)
		// hasta que la interrupción del timer reciba el eco.
		HAL_StatusTypeDef status = HCSR04_ReadDistance(&data_ultrasonico);
		// 2. Comprobar si la lectura fue exitosa
		if (status == HAL_OK)
		{
			// 3. Imprimir el dato usando la función de Serial.c
			// Esta función ya comprueba si data.is_valid
			Serial_PrintHCSR04Data(&data_ultrasonico);
		}
		else
		{
			// 4. (Opcional) Imprimir si hubo un error (timeout)
			//Serial_PrintString("[Ultrasonico] Error: Timeout (eco no recibido)\r\n");
		}
		// 5. Esperar antes de la próxima medición
		// No medir demasiado rápido para evitar ecos fantasmas.
		osDelay(200); // 5 lecturas por segundo es más que suficiente.
	}
	/* USER CODE END UltrasonidoTask */
}

void GPSTask(void *argument)
{
	/* USER CODE BEGIN GPSTask */
	GPS_Data_t local_gps_data;

	/* Infinite loop */
	for(;;)
	{
		GPS_ProcessData();
		if (gps_data_ready) {
			// Copiar datos globales a local
			memcpy(&local_gps_data, &g_gps_data, sizeof(GPS_Data_t));

			// Enviar a cola para otras tareas
			osMessageQueuePut(gpsDataQueueHandle, &local_gps_data, 0, 0);

			// Imprimir para debug
			GPS_PrintData(&local_gps_data);

			// Limpiar bandera
			gps_data_ready = 0;
		}
		osDelay(100);
	}
	/* USER CODE END GPSTask */
}

void TransmisionTask(void *argument)
{
	/* USER CODE BEGIN TransmisionTask */

	Sensors_I2C_Handle_t i2c_data;
	GPS_Data_t gps_data;
	LoRa_t lora_module;

	// La estructura que rellenaremos y enviaremos al logger
	Datalog_Entry_t current_log_entry = {0};
	char msg[128];
	osDelay(1000); // Espera inicial
	LoRa_Init(&lora_module, &huart1);
	LoRa_Setup(&lora_module,
			"1",  // Dirección del dispositivo
			"18", // ID de Red
			"915000000"); // Banda (ej. 915 MHz)

	/* Infinite loop */
	for(;;)
	{

		// 1. Esperar por datos de los sensores I2C (cada 2 seg)
		if (osMessageQueueGet(sensorDataQueueHandle, &i2c_data, NULL, osWaitForever) == osOK)
		{
			// 2. Intentar obtener los últimos datos del GPS (no esperar)
			// (Esto vacía la cola de GPS por si hay datos nuevos)
			osMessageQueueGet(gpsDataQueueHandle, &gps_data, NULL, 0);

			// 3. Rellenar la estructura de log
			current_log_entry.timestamp = gps_data.timestamp; // O mejor, un timestamp del GPS
			current_log_entry.latitude = gps_data.latitude;
			current_log_entry.longitude = gps_data.longitude;
			current_log_entry.gps_fix = gps_data.fix_quality;
			current_log_entry.temperature = i2c_data.data.temperature;
			current_log_entry.humidity = i2c_data.data.humidity;
			current_log_entry.eco2 = i2c_data.data.eco2;
			current_log_entry.tvoc = i2c_data.data.tvoc;
			current_log_entry.light = i2c_data.data.light;

			// 4. Enviar la estructura COMPLETA a la cola de Log
			osMessageQueuePut(logQueueHandle, &current_log_entry, 0, 0);

			// 5. Formatear y enviar por LoRa (como antes)
			snprintf(msg, sizeof(msg),
					"%.1f,%.1f,%u,%u,%.2f,%.2f,%.2f,%.1f",
					i2c_data.data.temperature,
					i2c_data.data.humidity,
					i2c_data.data.eco2,
					i2c_data.data.tvoc,
					i2c_data.data.accel[0],
					i2c_data.data.accel[1],
					i2c_data.data.accel[2],
					i2c_data.data.light); // Nos falta el gps

			char cmd[160];
			snprintf(cmd, sizeof(cmd), "AT+SEND=0,%d,%s\r\n", (int)strlen(msg), msg);
			Serial_PrintString(cmd);
		}
	}

	/* USER CODE END TransmisionTask */
}

void SensoresTask(void *argument)
{
	/* USER CODE BEGIN SensoresTask */
	Sensors_I2C_Handle_t hsensors = {0};

	if (Sensors_I2C_Init(&hsensors, &hi2c1)==HAL_OK)
	{
		Serial_PrintString("Sensores I2C Inicializados \n\r");
	}
	else
	{
		Serial_PrintString("No se logró inicializar los sensores \n\r");
	}

	/* Infinite loop */
	for(;;)
	{
		// 1. Leer Temperatura y Humedad
		HDC1080_Read(&hsensors);

		// 2. Enviar datos de T/H al CCS811 para compensación
		CCS811_WriteEnvData(&hsensors, hsensors.data.temperature, hsensors.data.humidity);

		// 3. Leer Calidad de Aire (ahora compensada)
		CCS811_Read(&hsensors);

		// 4. Leer el resto de sensores
		MPU6050_Read(&hsensors);
		LTR390_Read(&hsensors);

		portENTER_CRITICAL();
		g_current_lux = hsensors.data.light;
		portEXIT_CRITICAL();

		osMessageQueuePut(sensorDataQueueHandle, &hsensors, 0, 0);
		osDelay(200);

	}

	/* USER CODE END SensoresTask */
}

void Datos_SD(void *argument)
{
	/* USER CODE BEGIN Datos_SD */
	Datalog_Entry_t log_entry;
	Datalogger_t datalogger;
	char cmd[256];
	snprintf(cmd, sizeof(cmd), "Tarea SD Inicializada\r\n");
	Serial_PrintString(cmd);
	osDelay(2000);
	snprintf(cmd, sizeof(cmd), "[SD] Intentando montar...\r\n");
	Serial_PrintString(cmd);
	// 1. Inicializar el Datalogger
	// Esperamos un poco para que la SD se estabilice
	osDelay(2000);
	if (Datalogger_Init(&datalogger, "LOG_001.BIN") != HAL_OK) {
		// Error: No se pudo montar la SD.

		snprintf(cmd, sizeof(cmd), "[SD] FALLO al montar\r\n");
		Serial_PrintString(cmd);
		//osThreadTerminate(NULL); // Terminar la tarea
	}
	else
	{
		snprintf(cmd, sizeof(cmd), "[SD] Montaje EXITOSO\r\n");
		Serial_PrintString(cmd);
	}
	/* Infinite loop */
	for(;;)
	{
		log_entry.eco2 = 10;
		log_entry.gps_fix= 11;
		log_entry.humidity = 12;
		log_entry.latitude = 13;
		log_entry.light = 14;
		log_entry.longitude = 15;
		log_entry.temperature = 16;
		log_entry.timestamp = 17;
		log_entry.tvoc= 18;

		Datalogger_LogEntry(&datalogger, &log_entry);
		// 2. Esperar (bloquearse) hasta que lleguen datos a la cola de log
		/*
		if (osMessageQueueGet(logQueueHandle, &log_entry, NULL, osWaitForever) == osOK)
		{
			// 3. Escribir los datos en la SD
			/Datalogger_LogEntry(&datalogger, &log_entry);
			// La tarea se bloqueará en f_sync() (dentro de LogEntry),
			// lo cual es perfecto para una tarea de baja prioridad.
		}
		 */
		osDelay(1000);
	}
	/* USER CODE END Datos_SD */
}

void PatasRoverTask(void *argument)
{
	/* USER CODE BEGIN PatasRoverTask */
	Servo_Init(&hServoDiag1, &htim4, TIM_CHANNEL_1);
	Servo_Init(&hServoDiag2, &htim4, TIM_CHANNEL_2);
	/* Infinite loop */
	for(;;)
	{
		osDelay(1);
	}
	/* USER CODE END PatasRoverTask */
}
